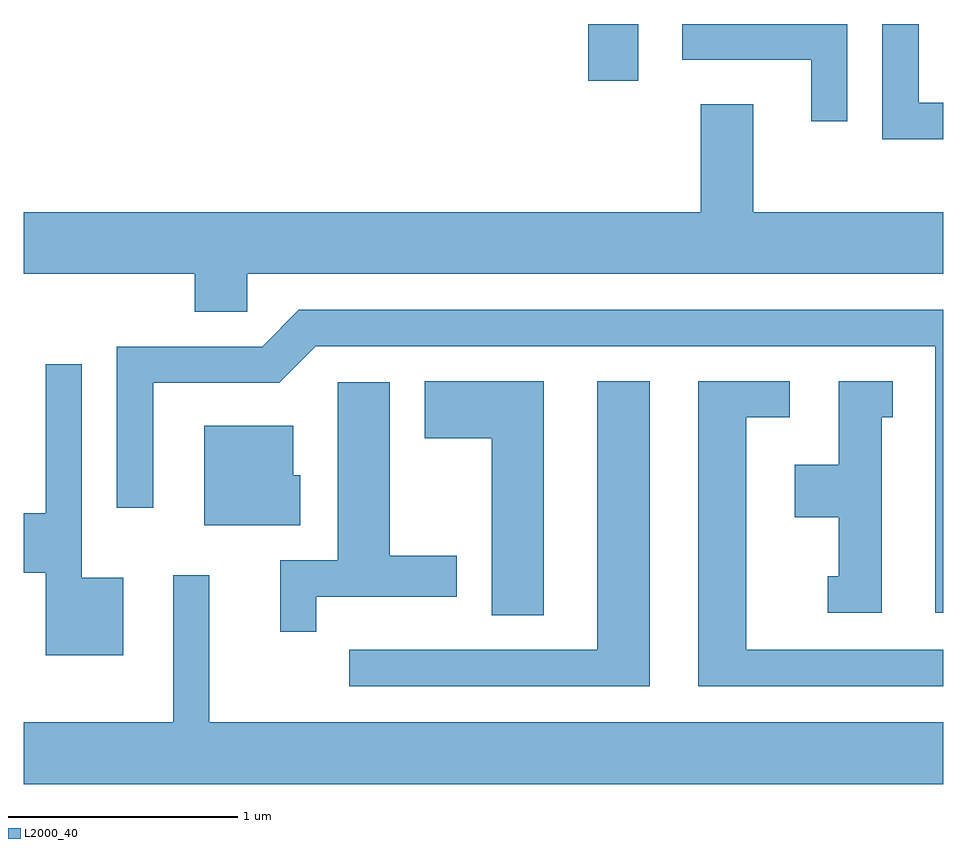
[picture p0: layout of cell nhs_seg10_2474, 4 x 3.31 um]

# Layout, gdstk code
import gdstk
lib = gdstk.Library(unit=1e-6, precision=1e-09)
def R(c, l, rs):  # rectangles x0, y0, x1, y1
    for r in rs: c.add(gdstk.rectangle(r[:2], r[2:], *l))
def P(c, l, *ps):  # polygons
    for p in ps: c.add(gdstk.Polygon(p, *l))
L2000_40 = (2000, 40)

nhs_seg10_2474 = lib.new_cell('nhs_seg10_2474')
R(nhs_seg10_2474, L2000_40, [(260.066,2150.276,260.284,2150.522)])
P(nhs_seg10_2474, L2000_40, [(261.611,2150.179),(261.504,2150.179),(261.504,2150.522),(261.346,2150.522),(261.346,2150.021),(261.611,2150.021)],
  [(261.194,2150.522),(260.476,2150.522),(260.476,2150.366),(261.036,2150.366),(261.036,2150.098),(261.194,2150.098)],
  [(258.584,2149.436),(261.611,2149.436),(261.611,2149.704),(260.784,2149.704),(260.784,2150.174),(260.556,2150.174),(260.556,2149.704),(257.611,2149.704),(257.611,2149.436),(258.356,2149.436),(258.356,2149.271),(258.584,2149.271)],
  [(261.611,2149.279),(258.808,2149.279),(258.649,2149.119),(258.016,2149.119),(258.016,2148.418),(258.174,2148.418),(258.174,2148.961),(258.722,2148.961),(258.882,2149.121),(261.576,2149.121),(261.576,2147.961),(261.611,2147.961)],
  [(258.044,2148.114),(257.864,2148.114),(257.864,2149.043),(257.706,2149.043),(257.706,2148.394),(257.611,2148.394),(257.611,2148.136),(257.706,2148.136),(257.706,2147.776),(258.044,2147.776)],
  [(259.874,2148.969),(259.356,2148.969),(259.356,2148.721),(259.646,2148.721),(259.646,2147.951),(259.874,2147.951)],
  [(261.344,2148.811),(261.392,2148.811),(261.392,2148.969),(261.156,2148.969),(261.156,2148.604),(260.966,2148.604),(260.966,2148.376),(261.156,2148.376),(261.156,2148.119),(261.108,2148.119),(261.108,2147.961),(261.344,2147.961)],
  [(260.334,2148.969),(260.106,2148.969),(260.106,2147.799),(259.028,2147.799),(259.028,2147.641),(260.334,2147.641)],
  [(261.611,2147.799),(260.754,2147.799),(260.754,2148.811),(260.943,2148.811),(260.943,2148.969),(260.546,2148.969),(260.546,2147.641),(261.611,2147.641)],
  [(258.884,2148.031),(259.494,2148.031),(259.494,2148.209),(259.204,2148.209),(259.204,2148.964),(258.976,2148.964),(258.976,2148.189),(258.726,2148.189),(258.726,2147.878),(258.884,2147.878)],
  [(258.814,2148.559),(258.784,2148.559),(258.784,2148.774),(258.396,2148.774),(258.396,2148.341),(258.814,2148.341)],
  [(261.611,2147.484),(258.419,2147.484),(258.419,2148.123),(258.261,2148.123),(258.261,2147.484),(257.611,2147.484),(257.611,2147.216),(261.611,2147.216)])

lib.write_gds('nhs_seg10_2474.gds')
